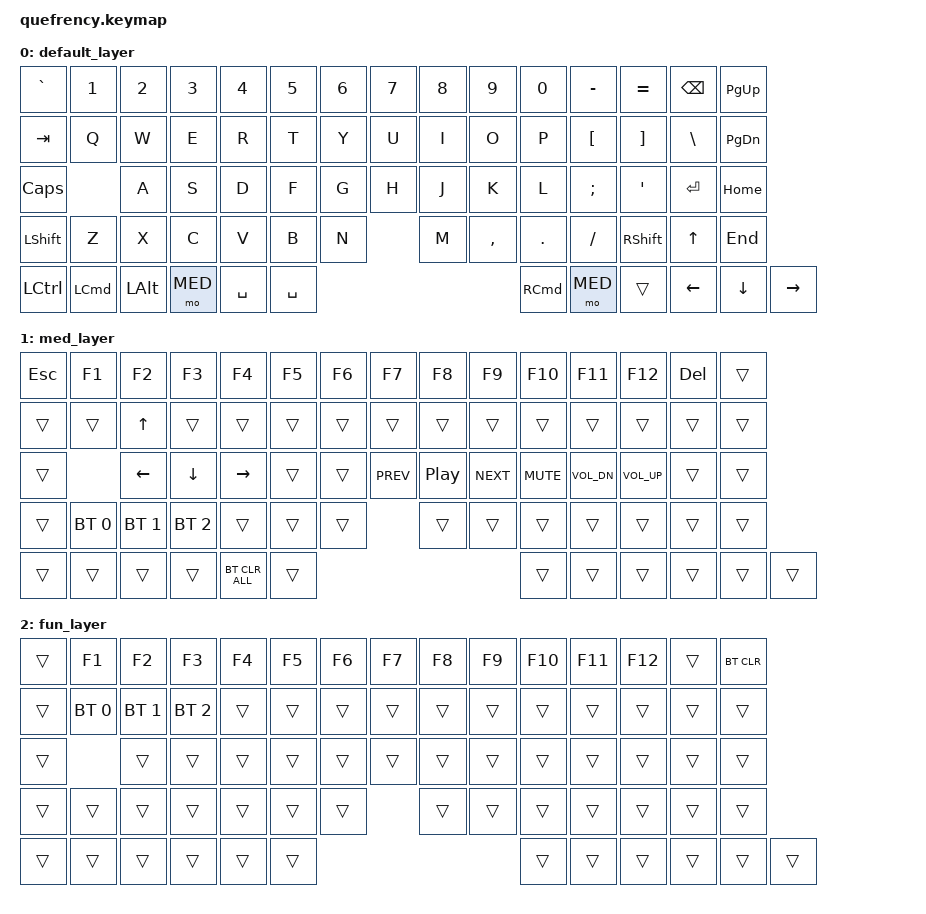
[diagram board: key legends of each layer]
/*
 * Copyright (c) 2020 The ZMK Contributors
 *
 * SPDX-License-Identifier: MIT
 */

#include <behaviors.dtsi>
#include <dt-bindings/zmk/bt.h>
#include <dt-bindings/zmk/keys.h>

#define DEFAULT 0
#define MED   1
#define FUN   2

/ {
    keymap {
        compatible = "zmk,keymap";

        // ----------------------------------------------      -----------------------------------------------------
        // | ESC  |  1   |  2  |  3   |  4  |  5  |  6  |      |  7  |  8  |  9  |  0  |  -  |  =  |  BKSPC |  `   |
        // | TAB   |  Q   |  W  |  E   |  R  |  T  |        |  Y  |  U  |  I  |  O  |  P  |  [  |  ]  |  \  | DEL  |
        // | CAPS  |  A   |  S  |  D   |  F  |  G  |        |  H  |  J  |  K  |  L  |  ;  |  '  |   ENTER  | PGUP |
        // | SHIFT   |  Z   |  X  |  C  |  V   |  B  |        |  N  |  M  |  ,  |  .  |  /  |  RSHFT  |  UP | PGDN |
        // |  LCTRL   | LGUI | LALT  | FN|   SPACE  |        |    SPACE    | RALT | FN | RCTRL | LFT | DWN | RGHT |
        // -------------------------------------------        ------------------------------------------------------

        default_layer {
            bindings = <
&kp GRAVE  &kp N1           &kp N2               &kp N3         &kp N4          &kp N5         &kp N6       &kp N7     &kp N8  &kp N9     &kp N0    &kp MINUS  &kp EQUAL             &kp BSPC            &kp PG_UP
&kp TAB              &kp Q                &kp W          &kp E           &kp R          &kp T               &kp Y      &kp U   &kp I      &kp O     &kp P      &kp LBKT              &kp RBKT  &kp BSLH             &kp PG_DN
&kp CAPS                    &kp A                &kp S          &kp D           &kp F          &kp G        &kp H      &kp J   &kp K      &kp L     &kp SEMI   &kp SQT               &kp RET             &kp HOME
&kp LSHFT                   &kp Z                &kp X          &kp C           &kp V          &kp B        &kp N      &kp M   &kp COMMA  &kp DOT   &kp FSLH              &kp RSHFT            &kp UP    &kp END
&kp LCTRL  &kp LCMD         &kp LEFT_ALT                        &mo MED                        &kp SPACE    &kp SPACE                     &kp RCMD  &mo MED    &trans                &kp LEFT            &kp DOWN   &kp RIGHT
            >;
        };

        med_layer {
            bindings = <
&kp ESCAPE  &kp F1          &kp F2                &kp F3                &kp F4                &kp F5          &kp F6            &kp F7      &kp F8    &kp F9      &kp F10     &kp F11       &kp F12               &kp DEL          &trans
&trans              &trans                &kp UP                &trans                &trans          &trans                    &trans      &trans    &trans      &trans      &trans        &trans                &trans   &trans          &trans
&trans                      &kp LEFT              &kp DOWN              &kp RIGHT             &trans          &trans            &kp C_PREV  &kp C_PP  &kp C_NEXT  &kp C_MUTE  &kp C_VOL_DN  &kp C_VOL_UP          &trans           &trans
&trans                      &bt BT_SEL 0          &bt BT_SEL 1          &bt BT_SEL 2          &trans          &trans            &trans      &trans    &trans      &trans      &trans                      &trans           &trans  &trans
&trans      &trans          &trans                                      &trans                                &bt BT_CLR_ALL    &trans                            &trans      &trans        &trans                &trans           &trans  &trans
            >;
        };

        fun_layer {
            bindings = <
&trans  &kp F1                &kp F2                &kp F3                &kp F4          &kp F5          &kp F6    &kp F7  &kp F8  &kp F9  &kp F10  &kp F11  &kp F12          &trans          &bt BT_CLR
&trans          &bt BT_SEL 0          &bt BT_SEL 1          &bt BT_SEL 2          &trans          &trans            &trans  &trans  &trans  &trans   &trans   &trans           &trans  &trans              &trans
&trans                        &trans                &trans                &trans          &trans          &trans    &trans  &trans  &trans  &trans   &trans   &trans           &trans          &trans
&trans                        &trans                &trans                &trans          &trans          &trans    &trans  &trans  &trans  &trans   &trans            &trans          &trans  &trans
&trans  &trans                &trans                                      &trans                          &trans    &trans                  &trans   &trans   &trans           &trans          &trans      &trans
            >;
        };
    };
};
